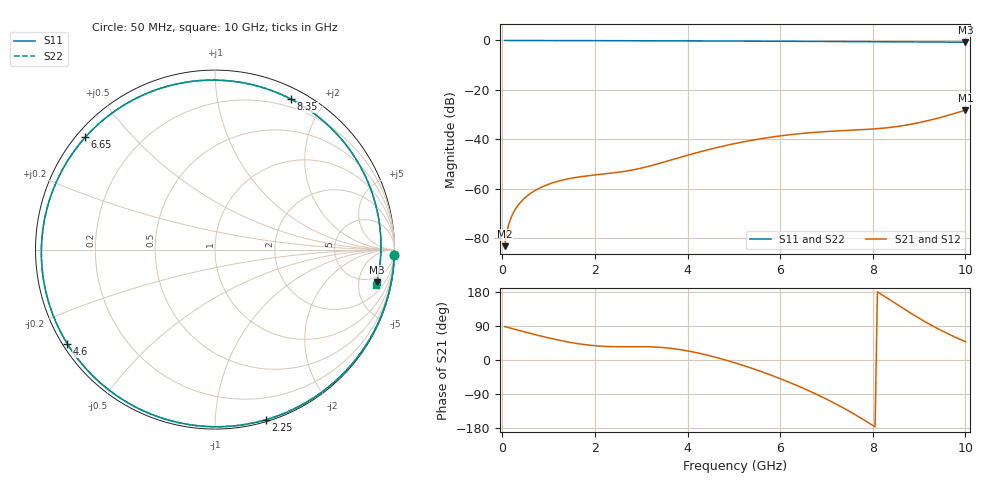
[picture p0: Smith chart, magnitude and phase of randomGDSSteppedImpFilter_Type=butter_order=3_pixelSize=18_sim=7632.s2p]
! freq	dB(S11)	phase(S11)	dB(S12)	phase(S12)
!  dB(S21)	phase(S21)	dB(S22)	phase(S22)
!S-par simulation data
#  GHz  S  DB  R 50
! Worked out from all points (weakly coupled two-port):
!   200 points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, 50 MHz to 10 GHz, reference 50 ohm
!   highest |S21| = -28.23 dB at 10 GHz (marker M1); lowest = -83.3 dB at 50 MHz (marker M2)
!   lowest |S11| = -0.7 dB at 10 GHz (marker M3), VSWR 23.93, Z = 179 - j424 ohm
!   |S11| at or under -10 dB: nowhere
!   |S22| runs from -0.7 to 0.0 dB; largest |S21 - S12| = 0
!   S11 on the Smith chart (normalised r, x): 50 MHz: 1, -67; 2.25 GHz: 0.01, -1.34; 4.6 GHz: 0.01, -0.29; 6.65 GHz: 0.03, +0.37; 8.35 GHz: 0.11, +1.62; 10 GHz: 3.58, -8.48
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0.05  -0.00 -1.7  -83.29 88.3  -83.29 88.3  -0.00 -1.7
0.15  -0.01 -5.0  -73.78 84.9  -73.78 84.9  -0.01 -5.0
0.25  -0.01 -8.4  -69.38 81.6  -69.38 81.6  -0.01 -8.4
0.55  -0.02 -18.4  -62.76 71.9  -62.76 71.9  -0.02 -18.4
1.05  -0.04 -34.9  -57.87 56.9  -57.87 56.9  -0.04 -34.9
1.75  -0.07 -57.6  -55.02 41.1  -55.02 41.1  -0.07 -57.6
2.25  -0.09 -73.5  -53.96 35.8  -53.96 35.8  -0.09 -73.5
2.8  -0.12 -90.8  -52.47 35.3  -52.47 35.3  -0.12 -90.8
3.4  -0.14 -109.5  -49.73 33.5  -49.73 33.5  -0.14 -109.6
4  -0.17 -128.2  -46.49 24.0  -46.49 24.0  -0.17 -128.4
4.6  -0.21 -147.4  -43.52 7.4  -43.52 7.4  -0.21 -147.5
5.05  -0.24 -162.2  -41.63 -8.4  -41.63 -8.4  -0.25 -162.4
5.85  -0.31 169.9  -39.03 -42.1  -39.03 -42.1  -0.31 169.6
6.65  -0.39 139.1  -37.36 -82.8  -37.36 -82.8  -0.39 138.6
6.7  -0.40 137.1  -37.28 -85.7  -37.28 -85.7  -0.40 136.6
7.55  -0.48 100.4  -36.34 -139.4  -36.34 -139.4  -0.48 99.7
7.95  -0.51 82.0  -35.93 -168.7  -35.93 -168.7  -0.51 81.2
8.35  -0.54 63.2  -35.28 160.1  -35.28 160.1  -0.55 62.3
8.8  -0.58 41.9  -34.02 125.0  -34.02 125.0  -0.58 41.0
9.2  -0.62 23.4  -32.42 96.1  -32.42 96.1  -0.62 22.5
9.6  -0.66 5.6  -30.47 70.6  -30.47 70.6  -0.66 4.6
10  -0.73 -11.5  -28.23 48.4  -28.23 48.4  -0.73 -12.3
